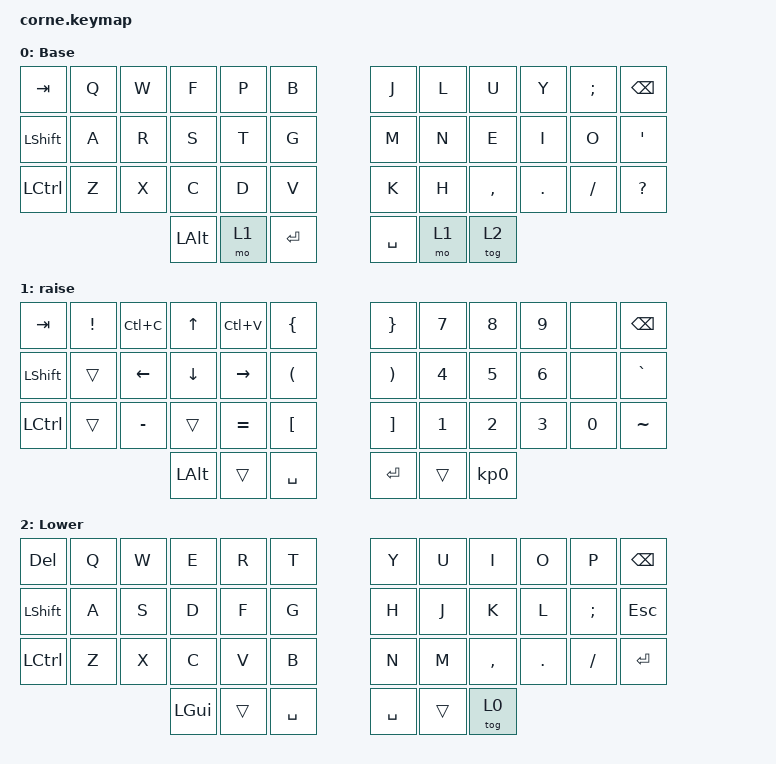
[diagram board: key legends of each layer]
/*
 * Copyright (c) 2020 The ZMK Contributors
 *
 * SPDX-License-Identifier: MIT
 */

#include <behaviors.dtsi>
#include <dt-bindings/zmk/keys.h>

/ {
    combos {
        compatible = "zmk,combos";

        Gaming_Layer {
            bindings = <&tog 2>;
            key-positions = <37 40>;
        };
    };

    keymap {
        compatible = "zmk,keymap";

        default_layer {
            // -----------------------------------------------------------------------------------------
            // |  TAB |  Q  |  W  |  E  |  R  |  T  |   |  Y  |  U   |  I  |  O  |  P  | BKSP |
            // | CTRL |  A  |  S  |  D  |  F  |  G  |   |  H  |  J   |  K  |  L  |  ;  |  '   |
            // | SHFT |  Z  |  X  |  C  |  V  |  B  |   |  N  |  M   |  ,  |  .  |  /  | ESC  |
            //                    | GUI | LWR | SPC |   | ENT | RSE  | ALT |

            display-name = "Base";
            bindings = <
&kp TAB           &kp Q  &kp W  &kp F         &kp P  &kp B      &kp J      &kp L  &kp U      &kp Y       &kp SEMI   &kp BACKSPACE
&kp LSHIFT        &kp A  &kp R  &kp S         &kp T  &kp G      &kp M      &kp N  &kp E      &kp I       &kp O      &kp SINGLE_QUOTE
&kp LEFT_CONTROL  &kp Z  &kp X  &kp C         &kp D  &kp V      &kp K      &kp H  &kp COMMA  &kp PERIOD  &kp SLASH  &kp QUESTION
                                &kp LEFT_ALT  &mo 1  &kp RET    &kp SPACE  &mo 1  &tog 2
            >;
        };

        Symbols {
            // -----------------------------------------------------------------------------------------
            // |  TAB |  !  |  @  |  #  |  $  |  %  |   |  ^  |  &  |  *  |  (  |  )  | BKSP |
            // | CTRL |     |     |     |     |     |   |  -  |  =  |  [  |  ]  |  \  |  `   |
            // | SHFT |     |     |     |     |     |   |  _  |  +  |  {  |  }  | "|" |  ~   |
            //                    | GUI |     | SPC |   | ENT |     | ALT |

            display-name = "raise";
            bindings = <
&kp TAB           &kp EXCL  &kp LC(C)  &kp UP_ARROW  &kp LC(V)  &kp LEFT_BRACE          &kp RIGHT_BRACE        &kp N7        &kp N8           &kp N9        &none         &kp BSPC
&kp LEFT_SHIFT    &trans    &kp LEFT   &kp DOWN      &kp RIGHT  &kp LEFT_PARENTHESIS    &kp RIGHT_PARENTHESIS  &kp NUMBER_4  &kp N5           &kp NUMBER_6  &none         &kp GRAVE
&kp LEFT_CONTROL  &trans    &kp MINUS  &trans        &kp EQUAL  &kp LEFT_BRACKET        &kp RIGHT_BRACKET      &kp NUMBER_1  &kp NUMBER_2     &kp NUMBER_3  &kp NUMBER_0  &kp TILDE
                                       &kp LEFT_ALT  &trans     &kp SPACE               &kp RET                &trans        &kp KP_NUMBER_0
            >;
        };

        Gaming {
            display-name = "Lower";
            bindings = <
&kp DELETE      &kp Q  &kp W  &kp E     &kp R   &kp T        &kp Y      &kp U   &kp I      &kp O       &kp P          &kp BSPC
&kp LEFT_SHIFT  &kp A  &kp S  &kp D     &kp F   &kp G        &kp H      &kp J   &kp K      &kp L       &kp SEMICOLON  &kp ESCAPE
&kp LCTRL       &kp Z  &kp X  &kp C     &kp V   &kp B        &kp N      &kp M   &kp COMMA  &kp PERIOD  &kp SLASH      &kp RET
                              &kp LGUI  &trans  &kp SPACE    &kp SPACE  &trans  &tog 0
            >;
        };
    };
};
